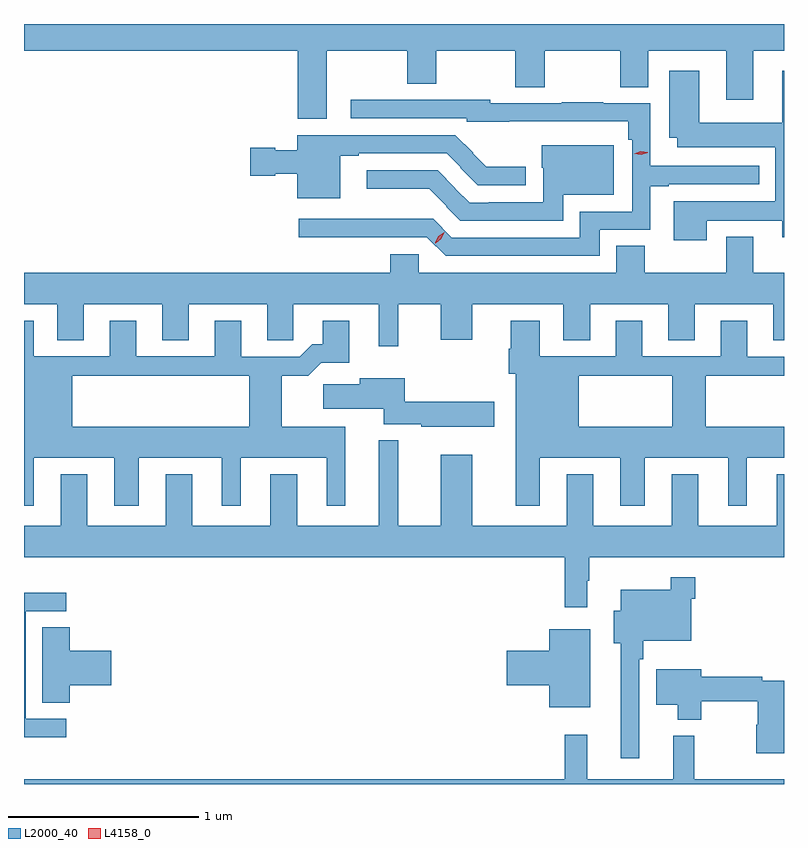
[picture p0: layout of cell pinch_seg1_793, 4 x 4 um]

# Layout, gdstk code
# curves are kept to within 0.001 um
import gdstk
lib = gdstk.Library(unit=1e-6, precision=1e-09)
def P(c, l, *ps):  # polygons
    for p in ps: c.add(gdstk.Polygon(p, *l))
L2000_40 = (2000, 40)
L4158_0 = (4158, 0)

pinch_seg1_793 = lib.new_cell('pinch_seg1_793')
P(pinch_seg1_793, L2000_40, [(404.59,580.864),(404.745,580.864),(404.745,581.036),(405.16,581.036),(405.16,580.846),(405.315,580.846),(405.315,581.036),(405.712,581.036),(405.712,580.846),(405.859,580.846),(405.859,581.036),(406.271,581.036),(406.271,580.779),(406.411,580.779),(406.411,581.036),(406.574,581.036),(406.574,581.178),(402.574,581.178),(402.574,581.036),(404.015,581.036),(404.015,580.679),(404.167,580.679),(404.167,581.036),(404.59,581.036)],
  [(406.168,580.142),(406.565,580.142),(406.565,580.056),(406.574,580.056),(406.574,580.933),(406.565,580.933),(406.565,580.657),(406.129,580.657),(406.129,580.933),(405.971,580.933),(405.971,580.58),(406.013,580.58),(406.013,580.529),(406.529,580.529),(406.529,580.246),(405.995,580.246),(405.995,580.04),(406.168,580.04)],
  [(405.604,580.095),(405.87,580.095),(405.87,580.323),(405.967,580.323),(405.967,580.335),(406.444,580.335),(406.444,580.431),(405.871,580.431),(405.87,580.761),(405.623,580.761),(405.623,580.766),(405.403,580.766),(405.403,580.761),(405.027,580.761),(405.027,580.779),(404.295,580.779),(404.295,580.683),(404.904,580.683),(404.904,580.664),(405.755,580.665),(405.755,580.568),(405.774,580.568),(405.774,580.191),(405.5,580.191),(405.5,580.053),(404.826,580.053),(404.727,580.152),(404.019,580.152),(404.019,580.055),(404.694,580.056),(404.793,579.957),(405.604,579.957)],
  [(404.239,580.485),(404.335,580.485),(404.335,580.497),(404.799,580.497),(404.872,580.424),(404.87,580.422),(404.963,580.329),(405.214,580.329),(405.214,580.428),(405.008,580.428),(404.845,580.593),(404.012,580.593),(404.012,580.513),(403.896,580.513),(403.896,580.526),(403.764,580.526),(403.764,580.379),(403.896,580.379),(403.896,580.391),(404.012,580.391),(404.012,580.262),(404.239,580.262)],
  [(405.412,580.28),(405.679,580.28),(405.679,580.54),(405.299,580.54),(405.299,580.422),(405.308,580.422),(405.308,580.239),(405.019,580.239),(405.019,580.236),(404.919,580.236),(404.843,580.312),(404.845,580.314),(404.752,580.407),(404.379,580.407),(404.379,580.31),(404.707,580.31),(404.799,580.218),(404.797,580.216),(404.87,580.143),(405.412,580.143)],
  [(404.545,579.704),(404.768,579.704),(404.768,579.516),(404.932,579.516),(404.932,579.704),(405.413,579.704),(405.413,579.514),(405.553,579.514),(405.553,579.704),(405.965,579.704),(405.965,579.514),(406.105,579.514),(406.105,579.704),(406.517,579.704),(406.517,579.514),(406.574,579.514),(406.574,579.868),(406.411,579.868),(406.411,580.057),(406.271,580.057),(406.271,579.868),(405.84,579.868),(405.84,580.01),(405.692,580.01),(405.692,579.868),(404.652,579.868),(404.652,579.966),(404.501,579.966),(404.501,579.868),(402.574,579.868),(402.574,579.704),(402.749,579.704),(402.749,579.514),(402.889,579.514),(402.889,579.704),(403.301,579.704),(403.301,579.514),(403.441,579.514),(403.441,579.704),(403.853,579.704),(403.853,579.514),(403.992,579.514),(403.992,579.704),(404.441,579.704),(404.441,579.483),(404.545,579.483)],
  [(405.289,578.643),(405.289,578.894),(405.713,578.894),(405.713,578.643),(405.841,578.643),(405.841,578.894),(406.28,578.894),(406.28,578.643),(406.378,578.643),(406.378,578.894),(406.574,578.894),(406.574,579.058),(406.163,579.058),(406.163,579.328),(406.477,579.328),(406.477,579.326),(406.574,579.326),(406.574,579.426),(406.381,579.426),(406.381,579.616),(406.241,579.616),(406.241,579.429),(405.829,579.429),(405.829,579.616),(405.689,579.616),(405.689,579.429),(405.289,579.429),(405.289,579.616),(405.137,579.616),(405.137,579.47),(405.125,579.47),(405.125,579.336),(405.161,579.336),(405.161,579.058),(405.493,579.058),(405.493,579.328),(405.985,579.328),(405.985,579.058),(405.493,579.058),(405.161,579.058),(405.161,578.643)],
  [(402.625,578.643),(402.625,578.894),(403.049,578.894),(403.049,578.643),(403.177,578.643),(403.177,578.894),(403.616,578.894),(403.616,578.643),(403.714,578.643),(403.714,578.894),(404.168,578.894),(404.168,578.643),(404.266,578.643),(404.266,579.058),(403.93,579.058),(403.93,579.326),(404.069,579.326),(404.138,579.395),(404.287,579.395),(404.287,579.616),(404.147,579.616),(404.147,579.493),(404.092,579.493),(404.025,579.426),(403.717,579.426),(403.717,579.616),(403.577,579.616),(403.577,579.429),(403.165,579.429),(403.165,579.616),(403.025,579.616),(403.025,579.429),(402.625,579.429),(402.625,579.616),(402.574,579.616),(402.574,579.058),(402.829,579.058),(402.829,579.328),(403.76,579.328),(403.76,579.058),(402.574,579.058),(402.574,578.643)],
  [(405.049,579.189),(404.578,579.189),(404.578,579.313),(404.342,579.313),(404.342,579.281),(404.148,579.281),(404.148,579.152),(404.468,579.152),(404.468,579.071),(404.664,579.071),(404.664,579.059),(405.049,579.059)],
  [(405.538,578.249),(405.55,578.249),(405.55,578.372),(406.574,578.372),(406.574,578.809),(406.535,578.809),(406.535,578.536),(406.123,578.536),(406.123,578.809),(405.983,578.809),(405.983,578.536),(405.571,578.536),(405.571,578.809),(405.431,578.809),(405.431,578.536),(404.932,578.536),(404.932,578.911),(404.768,578.911),(404.768,578.536),(404.545,578.536),(404.545,578.986),(404.441,578.986),(404.441,578.536),(404.011,578.536),(404.011,578.809),(403.871,578.809),(403.871,578.536),(403.459,578.536),(403.459,578.809),(403.319,578.809),(403.319,578.536),(402.907,578.536),(402.907,578.809),(402.767,578.809),(402.767,578.536),(402.574,578.536),(402.574,578.372),(405.421,578.372),(405.421,578.109),(405.538,578.109)],
  [(405.813,577.835),(405.833,577.835),(405.833,577.931),(406.086,577.931),(406.086,578.153),(406.106,578.153),(406.106,578.266),(405.978,578.266),(405.978,578.2),(405.716,578.2),(405.716,578.089),(405.677,578.089),(405.677,577.919),(405.716,577.919),(405.716,577.314),(405.813,577.314)],
  [(402.796,577.521),(402.582,577.521),(402.582,578.088),(402.796,578.088),(402.796,578.184),(402.574,578.184),(402.574,577.423),(402.796,577.423)],
  [(402.815,577.697),(403.033,577.697),(403.033,577.88),(402.815,577.88),(402.815,578.003),(402.671,578.003),(402.671,577.606),(402.815,577.606)],
  [(405.553,577.993),(405.338,577.993),(405.338,577.88),(405.114,577.88),(405.114,577.697),(405.338,577.697),(405.338,577.583),(405.553,577.583)],
  [(406.574,577.722),(406.46,577.722),(406.46,577.742),(406.138,577.742),(406.138,577.783),(405.902,577.783),(405.902,577.595),(406.016,577.595),(406.016,577.517),(406.138,577.517),(406.138,577.614),(406.436,577.614),(406.436,577.491),(406.429,577.491),(406.429,577.341),(406.574,577.341)],
  [(406.574,577.204),(406.102,577.204),(406.102,577.432),(405.992,577.432),(405.992,577.204),(405.539,577.204),(405.539,577.438),(405.421,577.438),(405.421,577.204),(402.574,577.204),(402.574,577.178),(406.574,577.178)])
P(pinch_seg1_793, L4158_0, [(405.822,580.489),(405.785,580.496),(405.785,580.496),(405.785,580.496),(405.82,580.509),(405.857,580.502),(405.857,580.501),(405.857,580.501)],
  [(404.739,580.025),(404.739,580.026),(404.754,580.06),(404.785,580.081),(404.785,580.081),(404.785,580.081),(404.77,580.047),(404.74,580.025)])

lib.write_gds('pinch_seg1_793.gds')
